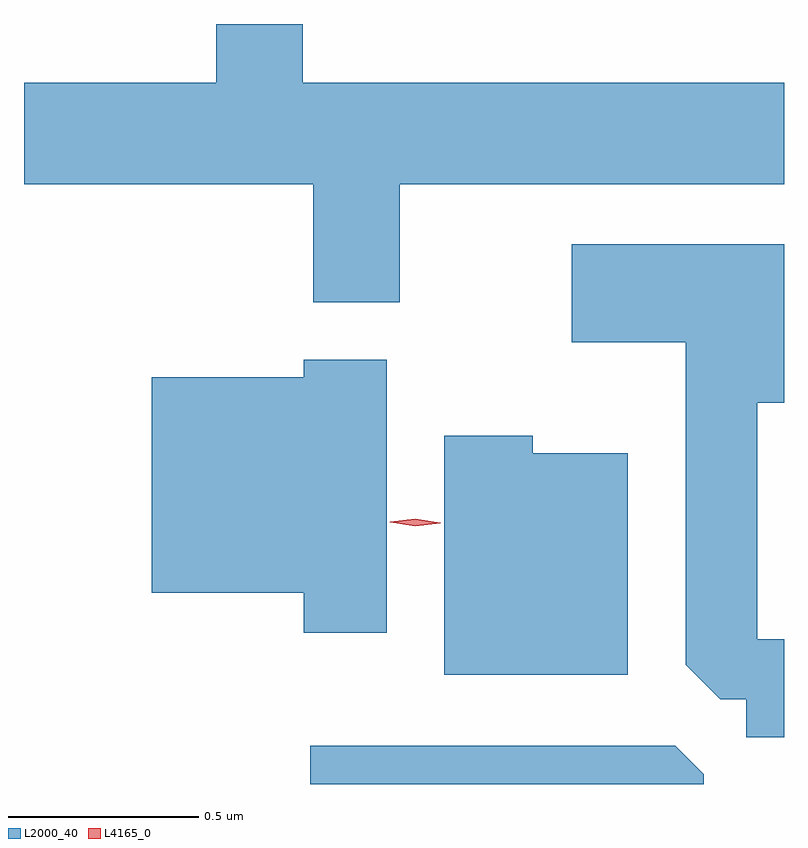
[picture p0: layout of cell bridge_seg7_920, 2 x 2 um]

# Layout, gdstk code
import gdstk
lib = gdstk.Library(unit=1e-6, precision=1e-09)
def P(c, l, *ps):  # polygons
    for p in ps: c.add(gdstk.Polygon(p, *l))
L2000_40 = (2000, 40)
L4165_0 = (4165, 0)

bridge_seg7_920 = lib.new_cell('bridge_seg7_920')
P(bridge_seg7_920, L2000_40, [(212.589,1692.116),(213.6,1692.116),(213.6,1692.384),(212.334,1692.384),(212.334,1692.538),(212.106,1692.538),(212.106,1692.384),(211.6,1692.384),(211.6,1692.116),(212.361,1692.116),(212.361,1691.806),(212.589,1691.806)],
  [(213.6,1690.919),(213.529,1690.919),(213.529,1691.541),(213.6,1691.541),(213.6,1691.959),(213.041,1691.959),(213.041,1691.701),(213.341,1691.701),(213.341,1690.852),(213.432,1690.761),(213.501,1690.761),(213.501,1690.661),(213.6,1690.661)],
  [(212.554,1691.654),(212.336,1691.654),(212.336,1691.609),(211.936,1691.609),(211.936,1691.041),(212.336,1691.041),(212.336,1690.936),(212.554,1690.936)],
  [(213.189,1691.409),(212.939,1691.409),(212.939,1691.454),(212.706,1691.454),(212.706,1690.826),(213.189,1690.826)],
  [(213.389,1690.564),(213.314,1690.639),(212.353,1690.639),(212.353,1690.538),(213.389,1690.538)])
P(bridge_seg7_920, L4165_0, [(212.63,1691.216),(212.564,1691.227),(212.563,1691.227),(212.564,1691.228),(212.63,1691.236),(212.696,1691.225),(212.697,1691.225),(212.696,1691.224)])

lib.write_gds('bridge_seg7_920.gds')
